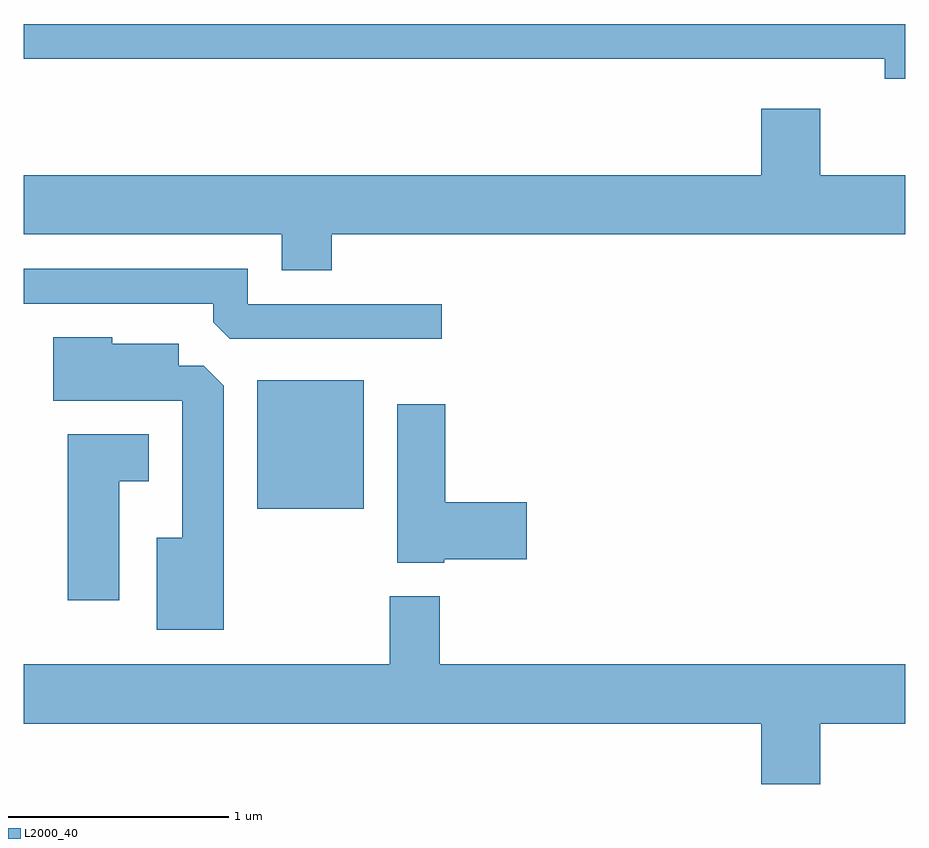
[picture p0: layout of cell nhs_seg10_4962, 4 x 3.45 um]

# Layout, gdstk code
import gdstk
lib = gdstk.Library(unit=1e-6, precision=1e-09)
def R(c, l, rs):  # rectangles x0, y0, x1, y1
    for r in rs: c.add(gdstk.rectangle(r[:2], r[2:], *l))
def P(c, l, *ps):  # polygons
    for p in ps: c.add(gdstk.Polygon(p, *l))
L2000_40 = (2000, 40)

nhs_seg10_4962 = lib.new_cell('nhs_seg10_4962')
R(nhs_seg10_4962, L2000_40, [(332.671,2123.771,333.154,2124.354)])
P(nhs_seg10_4962, L2000_40, [(335.611,2125.969),(331.611,2125.969),(331.611,2125.811),(335.516,2125.811),(335.516,2125.721),(335.611,2125.721)],
  [(333.009,2125.016),(335.611,2125.016),(335.611,2125.284),(335.224,2125.284),(335.224,2125.584),(334.956,2125.584),(334.956,2125.284),(331.611,2125.284),(331.611,2125.016),(332.781,2125.016),(332.781,2124.851),(333.009,2124.851)],
  [(333.508,2124.699),(332.629,2124.699),(332.629,2124.859),(331.611,2124.859),(331.611,2124.701),(332.471,2124.701),(332.471,2124.617),(332.547,2124.541),(333.508,2124.541)],
  [(332.519,2124.329),(332.429,2124.419),(332.314,2124.419),(332.314,2124.519),(332.014,2124.519),(332.014,2124.549),(331.746,2124.549),(331.746,2124.261),(332.331,2124.261),(332.331,2123.639),(332.216,2123.639),(332.216,2123.221),(332.519,2123.221)],
  [(333.52,2123.541),(333.894,2123.541),(333.894,2123.799),(333.524,2123.799),(333.524,2124.244),(333.306,2124.244),(333.306,2123.526),(333.52,2123.526)],
  [(332.044,2123.896),(332.179,2123.896),(332.179,2124.109),(331.811,2124.109),(331.811,2123.356),(332.044,2123.356)],
  [(335.224,2122.796),(335.611,2122.796),(335.611,2123.064),(333.499,2123.064),(333.499,2123.374),(333.271,2123.374),(333.271,2123.064),(331.611,2123.064),(331.611,2122.796),(334.956,2122.796),(334.956,2122.522),(335.224,2122.522)])

lib.write_gds('nhs_seg10_4962.gds')
